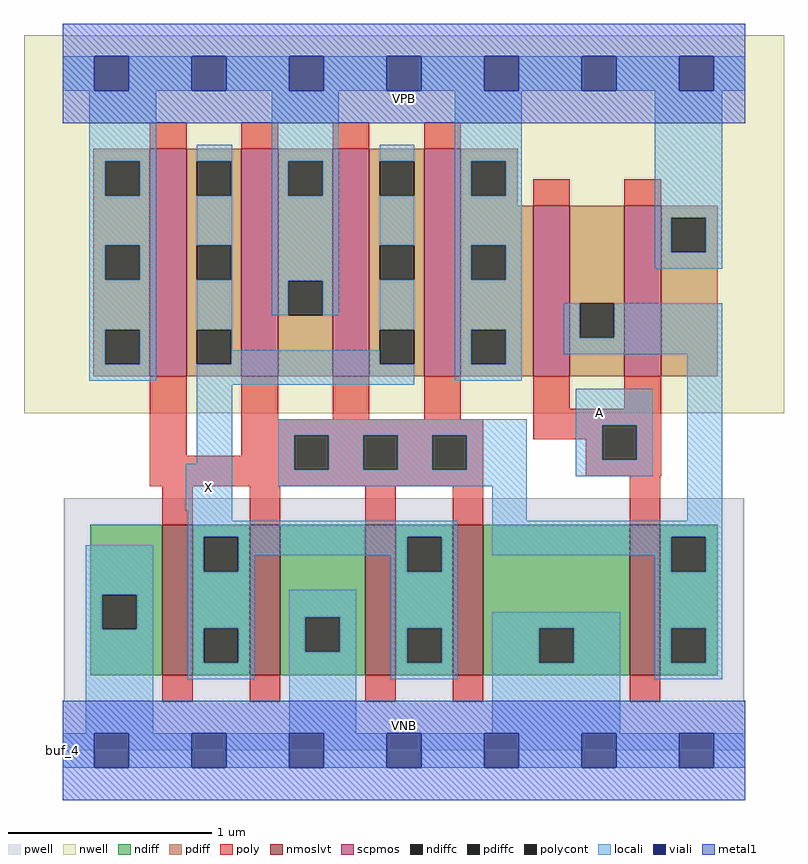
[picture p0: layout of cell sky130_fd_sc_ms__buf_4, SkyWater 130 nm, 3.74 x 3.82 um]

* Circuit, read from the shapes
.subckt sky130_fd_sc_ms__buf_4 A VGND VNB VPB VPWR X
XM1 X n1 VGND VNB sky130_fd_pr__nfet_01v8_lvt w=0.74 l=0.15 m=4
XM2 n1 A VGND VNB sky130_fd_pr__nfet_01v8_lvt w=0.74 l=0.15
XM3 X n1 VPWR VPB sky130_fd_pr__pfet_01v8 w=1.12 l=0.18 m=4
XM4 n1 A VPWR VPB sky130_fd_pr__pfet_01v8 w=0.84 l=0.18 m=2
.ends

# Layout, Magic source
magic
tech sky130A
magscale 1 2
<< nwell >>
rect -38 332 710 704
<< pwell >>
rect 1 49 671 248
rect 0 0 672 49
<< scpmos >>
rect 86 368 122 592
rect 176 368 212 592
rect 266 368 302 592
rect 356 368 392 592
rect 463 368 499 536
rect 553 368 589 536
<< nmoslvt >>
rect 98 74 128 222
rect 184 74 214 222
rect 298 74 328 222
rect 384 74 414 222
rect 558 74 588 222
<< ndiff >>
rect 27 153 98 222
rect 27 119 39 153
rect 73 119 98 153
rect 27 74 98 119
rect 128 210 184 222
rect 128 176 139 210
rect 173 176 184 210
rect 128 120 184 176
rect 128 86 139 120
rect 173 86 184 120
rect 128 74 184 86
rect 214 131 298 222
rect 214 97 239 131
rect 273 97 298 131
rect 214 74 298 97
rect 328 210 384 222
rect 328 176 339 210
rect 373 176 384 210
rect 328 120 384 176
rect 328 86 339 120
rect 373 86 384 120
rect 328 74 384 86
rect 414 120 558 222
rect 414 86 469 120
rect 503 86 558 120
rect 414 74 558 86
rect 588 210 645 222
rect 588 176 599 210
rect 633 176 645 210
rect 588 120 645 176
rect 588 86 599 120
rect 633 86 645 120
rect 588 74 645 86
<< pdiff >>
rect 30 580 86 592
rect 30 546 42 580
rect 76 546 86 580
rect 30 497 86 546
rect 30 463 42 497
rect 76 463 86 497
rect 30 414 86 463
rect 30 380 42 414
rect 76 380 86 414
rect 30 368 86 380
rect 122 580 176 592
rect 122 546 132 580
rect 166 546 176 580
rect 122 497 176 546
rect 122 463 132 497
rect 166 463 176 497
rect 122 414 176 463
rect 122 380 132 414
rect 166 380 176 414
rect 122 368 176 380
rect 212 580 266 592
rect 212 546 222 580
rect 256 546 266 580
rect 212 462 266 546
rect 212 428 222 462
rect 256 428 266 462
rect 212 368 266 428
rect 302 580 356 592
rect 302 546 312 580
rect 346 546 356 580
rect 302 497 356 546
rect 302 463 312 497
rect 346 463 356 497
rect 302 414 356 463
rect 302 380 312 414
rect 346 380 356 414
rect 302 368 356 380
rect 392 580 448 592
rect 392 546 402 580
rect 436 546 448 580
rect 392 536 448 546
rect 392 497 463 536
rect 392 463 402 497
rect 436 463 463 497
rect 392 414 463 463
rect 392 380 402 414
rect 436 380 463 414
rect 392 368 463 380
rect 499 440 553 536
rect 499 406 509 440
rect 543 406 553 440
rect 499 368 553 406
rect 589 524 645 536
rect 589 490 599 524
rect 633 490 645 524
rect 589 368 645 490
<< ndiffc >>
rect 39 119 73 153
rect 139 176 173 210
rect 139 86 173 120
rect 239 97 273 131
rect 339 176 373 210
rect 339 86 373 120
rect 469 86 503 120
rect 599 176 633 210
rect 599 86 633 120
<< pdiffc >>
rect 42 546 76 580
rect 42 463 76 497
rect 42 380 76 414
rect 132 546 166 580
rect 132 463 166 497
rect 132 380 166 414
rect 222 546 256 580
rect 222 428 256 462
rect 312 546 346 580
rect 312 463 346 497
rect 312 380 346 414
rect 402 546 436 580
rect 402 463 436 497
rect 402 380 436 414
rect 509 406 543 440
rect 599 490 633 524
<< poly >>
rect 86 592 122 618
rect 176 592 212 618
rect 266 592 302 618
rect 356 592 392 618
rect 463 536 499 562
rect 553 536 589 562
rect 86 290 122 368
rect 176 326 212 368
rect 266 326 302 368
rect 356 326 392 368
rect 463 336 499 368
rect 553 336 589 368
rect 176 310 414 326
rect 176 290 228 310
rect 86 276 228 290
rect 262 276 296 310
rect 330 276 364 310
rect 398 276 414 310
rect 463 320 589 336
rect 463 306 531 320
rect 86 260 414 276
rect 515 286 531 306
rect 565 286 589 320
rect 515 270 589 286
rect 98 222 128 260
rect 184 222 214 260
rect 298 222 328 260
rect 384 222 414 260
rect 558 222 588 270
rect 98 48 128 74
rect 184 48 214 74
rect 298 48 328 74
rect 384 48 414 74
rect 558 48 588 74
<< polycont >>
rect 228 276 262 310
rect 296 276 330 310
rect 364 276 398 310
rect 531 286 565 320
<< locali >>
rect 0 649 31 683
rect 65 649 127 683
rect 161 649 223 683
rect 257 649 319 683
rect 353 649 415 683
rect 449 649 511 683
rect 545 649 607 683
rect 641 649 672 683
rect 26 580 92 649
rect 26 546 42 580
rect 76 546 92 580
rect 26 497 92 546
rect 26 463 42 497
rect 76 463 92 497
rect 26 414 92 463
rect 26 380 42 414
rect 76 380 92 414
rect 26 364 92 380
rect 132 580 167 596
rect 166 546 167 580
rect 132 497 167 546
rect 166 463 167 497
rect 132 414 167 463
rect 206 580 272 649
rect 206 546 222 580
rect 256 546 272 580
rect 206 462 272 546
rect 206 428 222 462
rect 256 428 272 462
rect 312 580 346 596
rect 312 497 346 546
rect 166 394 167 414
rect 312 414 346 463
rect 166 380 312 394
rect 132 360 346 380
rect 386 580 452 649
rect 386 546 402 580
rect 436 546 452 580
rect 386 497 452 546
rect 386 463 402 497
rect 436 463 452 497
rect 583 524 649 649
rect 583 490 599 524
rect 633 490 649 524
rect 583 474 649 490
rect 386 414 452 463
rect 386 380 402 414
rect 436 380 452 414
rect 493 406 509 440
rect 543 406 649 440
rect 493 390 649 406
rect 386 364 452 380
rect 132 282 167 360
rect 121 236 167 282
rect 212 310 457 326
rect 212 276 228 310
rect 262 276 296 310
rect 330 276 364 310
rect 398 276 457 310
rect 212 260 457 276
rect 505 320 581 356
rect 505 286 531 320
rect 565 286 581 320
rect 505 270 581 286
rect 123 226 167 236
rect 423 226 457 260
rect 615 226 649 390
rect 123 210 389 226
rect 23 153 89 202
rect 23 119 39 153
rect 73 119 89 153
rect 23 17 89 119
rect 123 176 139 210
rect 173 192 339 210
rect 173 176 189 192
rect 123 120 189 176
rect 323 176 339 192
rect 373 176 389 210
rect 423 210 649 226
rect 423 192 599 210
rect 123 86 139 120
rect 173 86 189 120
rect 123 70 189 86
rect 223 131 289 158
rect 223 97 239 131
rect 273 97 289 131
rect 223 17 289 97
rect 323 120 389 176
rect 583 176 599 192
rect 633 176 649 210
rect 323 86 339 120
rect 373 86 389 120
rect 323 70 389 86
rect 423 120 549 136
rect 423 86 469 120
rect 503 86 549 120
rect 423 17 549 86
rect 583 120 649 176
rect 583 86 599 120
rect 633 86 649 120
rect 583 70 649 86
rect 0 -17 31 17
rect 65 -17 127 17
rect 161 -17 223 17
rect 257 -17 319 17
rect 353 -17 415 17
rect 449 -17 511 17
rect 545 -17 607 17
rect 641 -17 672 17
<< viali >>
rect 31 649 65 683
rect 127 649 161 683
rect 223 649 257 683
rect 319 649 353 683
rect 415 649 449 683
rect 511 649 545 683
rect 607 649 641 683
rect 31 -17 65 17
rect 127 -17 161 17
rect 223 -17 257 17
rect 319 -17 353 17
rect 415 -17 449 17
rect 511 -17 545 17
rect 607 -17 641 17
<< metal1 >>
rect 0 683 672 715
rect 0 649 31 683
rect 65 649 127 683
rect 161 649 223 683
rect 257 649 319 683
rect 353 649 415 683
rect 449 649 511 683
rect 545 649 607 683
rect 641 649 672 683
rect 0 617 672 649
rect 0 17 672 49
rect 0 -17 31 17
rect 65 -17 127 17
rect 161 -17 223 17
rect 257 -17 319 17
rect 353 -17 415 17
rect 449 -17 511 17
rect 545 -17 607 17
rect 641 -17 672 17
rect 0 -49 672 -17
<< labels >>
flabel pwell s 0 0 672 49 0 FreeSans 200 0 0 0 VNB
port 3 nsew ground bidirectional
flabel nwell s 0 617 672 666 0 FreeSans 200 0 0 0 VPB
port 4 nsew power bidirectional
rlabel comment s 0 0 0 0 4 buf_4
flabel metal1 s 0 617 672 666 0 FreeSans 340 0 0 0 VPWR
port 5 nsew power bidirectional
flabel metal1 s 0 0 672 49 0 FreeSans 340 0 0 0 VGND
port 2 nsew ground bidirectional
flabel locali s 511 316 545 350 0 FreeSans 340 0 0 0 A
port 1 nsew signal input
flabel locali s 127 242 161 276 0 FreeSans 340 0 0 0 X
port 6 nsew signal output
<< properties >>
string LEFsite unit
string LEFclass CORE
string FIXED_BBOX 0 0 672 666
string GDS_FILE $PDKPATH/libs.ref/sky130_fd_sc_ms/gds/sky130_fd_sc_ms.gds
string LEFsymmetry X Y
string GDS_END 3016456
string GDS_START 3010928
<< end >>
